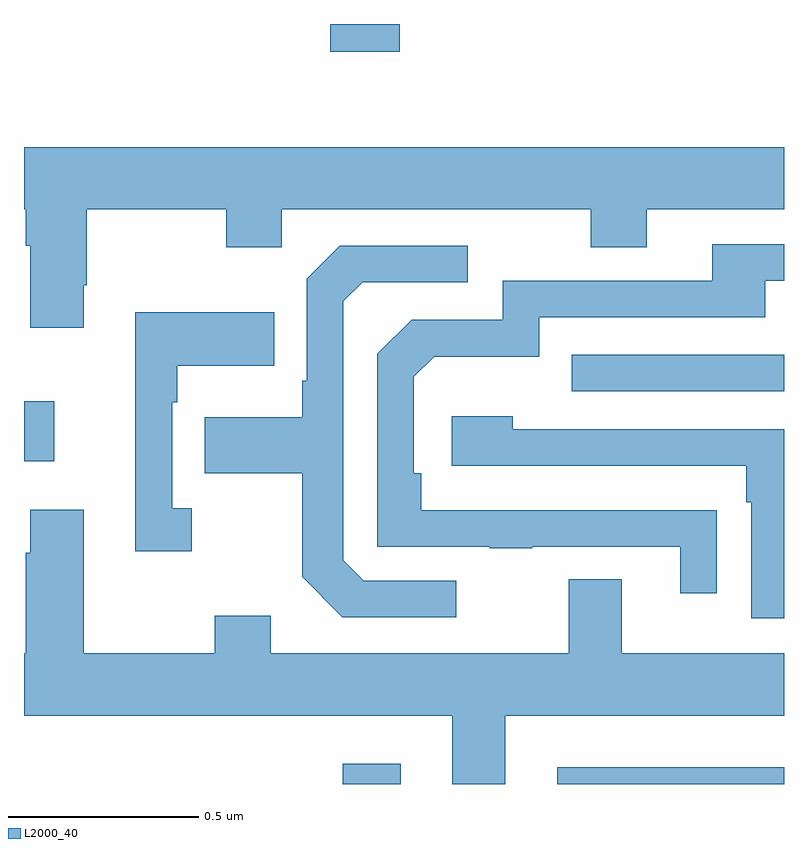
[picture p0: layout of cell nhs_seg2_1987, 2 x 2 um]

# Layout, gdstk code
import gdstk
lib = gdstk.Library(unit=1e-6, precision=1e-09)
def R(c, l, rs):  # rectangles x0, y0, x1, y1
    for r in rs: c.add(gdstk.rectangle(r[:2], r[2:], *l))
def P(c, l, *ps):  # polygons
    for p in ps: c.add(gdstk.Polygon(p, *l))
L2000_40 = (2000, 40)

nhs_seg2_1987 = lib.new_cell('nhs_seg2_1987')
R(nhs_seg2_1987, L2000_40, [(135.839,636.8,135.991,636.853), (136.403,636.8,137,636.844), (135,637.649,135.079,637.807), (136.441,637.833,137,637.929), (135.806,638.727,135.989,638.8)])
P(nhs_seg2_1987, L2000_40, [(135.157,638.113),(135.165,638.113),(135.165,638.312),(135.532,638.312),(135.532,638.213),(135.678,638.213),(135.678,638.312),(136.492,638.312),(136.492,638.213),(136.639,638.213),(136.639,638.312),(137,638.312),(137,638.476),(135,638.476),(135,638.312),(135.005,638.312),(135.005,638.216),(135.017,638.216),(135.017,638.001),(135.157,638.001)],
  [(136.823,637.52),(136.721,637.52),(136.721,637.521),(136.046,637.521),(136.046,637.618),(136.026,637.618),(136.026,637.872),(136.079,637.925),(136.356,637.925),(136.356,638.028),(136.951,638.028),(136.951,638.124),(137,638.124),(137,638.22),(136.811,638.22),(136.811,638.124),(136.26,638.124),(136.26,638.022),(136.02,638.022),(135.93,637.932),(135.93,637.425),(136.225,637.425),(136.225,637.42),(136.337,637.42),(136.337,637.425),(136.727,637.425),(136.727,637.302),(136.823,637.302)],
  [(136.138,637.335),(135.894,637.335),(135.84,637.389),(135.84,638.07),(135.891,638.121),(136.168,638.121),(136.168,638.217),(135.831,638.217),(135.744,638.13),(135.744,637.861),(135.732,637.861),(135.732,637.765),(135.475,637.765),(135.475,637.618),(135.732,637.618),(135.732,637.345),(135.837,637.239),(136.138,637.239)],
  [(135.442,637.526),(135.39,637.526),(135.39,637.805),(135.403,637.805),(135.403,637.901),(135.659,637.901),(135.659,638.041),(135.293,638.041),(135.293,637.413),(135.442,637.413)],
  [(137,637.734),(136.286,637.734),(136.286,637.768),(136.125,637.768),(136.125,637.638),(136.901,637.638),(136.901,637.541),(136.914,637.541),(136.914,637.236),(137,637.236)],
  [(136.267,636.98),(137,636.98),(137,637.144),(136.573,637.144),(136.573,637.339),(136.433,637.339),(136.433,637.144),(135.649,637.144),(135.649,637.243),(135.502,637.243),(135.502,637.144),(135.157,637.144),(135.157,637.522),(135.017,637.522),(135.017,637.409),(135.005,637.409),(135.005,637.144),(135,637.144),(135,636.98),(136.127,636.98),(136.127,636.8),(136.267,636.8)])

lib.write_gds('nhs_seg2_1987.gds')
